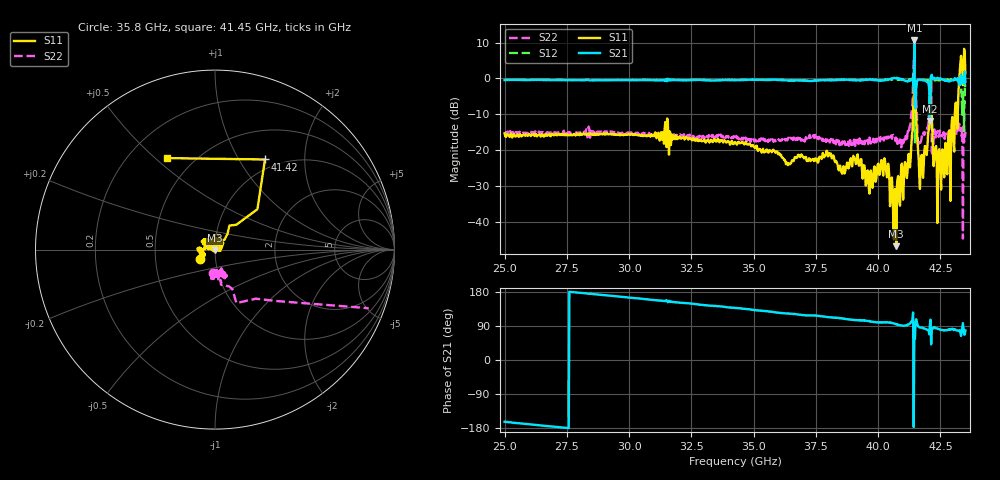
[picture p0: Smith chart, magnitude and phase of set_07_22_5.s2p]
!Keysight Technologies,N5224A,MY55441802,A.10.65.16
!Date: Tuesday, March 03, 2026 16:51:38
!Correction: S11(Full 2 Port(1,2))
!S21(Full 2 Port(1,2))
!S12(Full 2 Port(1,2))
!S22(Full 2 Port(1,2))
!S2P File: Measurements: S11, S21, S12, S22:
# Hz S  dB  R 50
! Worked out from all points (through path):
!   741 points, 25 GHz to 43.5 GHz, reference 50 ohm
!   highest |S21| = 10.58 dB at 41.45 GHz (marker M1); lowest = -11.9 dB at 42.08 GHz (marker M2)
!   lowest |S11| = -46.8 dB at 40.73 GHz (marker M3), VSWR 1.01, Z = 49.7 - j0.374 ohm
!   |S11| at or under -10 dB: start of sweep to 41.4 GHz; 41.52 GHz to 42.07 GHz (549.5 MHz wide, 1.31 % of centre); 42.14 GHz to 43.07 GHz (931.9 MHz wide, 2.19 % of centre)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
!   |S22| runs from -44.7 to 6.6 dB; largest |S21 - S12| = 3.2
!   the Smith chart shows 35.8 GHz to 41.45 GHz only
!   S11 on the Smith chart (normalised r, x): 35.8 GHz: 0.84, -0.09; 41.42 GHz: 0.87, +1.30; 41.45 GHz: 0.36, +0.55
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2.5e10  -15.38 -68.3  -0.46 -163.0  -0.45 -162.6  -14.93 -84.1
2.81e10  -15.67 -92.0  -0.51 176.8  -0.46 177.1  -15.03 -94.7
3.1175e10  -15.29 -116.7  -0.51 156.8  -0.44 157.3  -15.13 -103.1
3.425e10  -17.77 -146.5  -0.44 137.2  -0.38 137.1  -16.98 -103.7
3.58e10  -20.00 -149.0  -0.32 126.5  -0.42 126.5  -17.71 -94.2
3.735e10  -22.66 -153.4  -0.69 117.7  -0.65 117.2  -16.26 -93.2
4.0425e10  -25.41 154.2  -0.27 99.4  -0.23 96.7  -16.25 -70.1
4.0725e10  -46.78 -124.7  0.05 94.5  -0.34 94.2  -16.19 -74.6
4.1225e10  -21.06 83.5  -0.73 93.7  -0.40 92.3  -15.29 -79.6
4.1425e10  -4.82 61.0  -2.33 -176.9  -3.11 146.3  4.98 30.7
4.145e10  -4.81 117.6  10.58 83.2  -13.49 41.5  6.56 -94.5
4.155e10  -14.85 -4.3  -0.72 100.4  -1.10 102.6  -9.42 34.3
4.1725e10  -21.92 -14.5  -0.45 85.6  -0.43 86.6  -17.28 -67.3
4.2075e10  -8.84 -115.2  -11.90 93.1  -5.89 56.3  -0.62 -58.5
4.2225e10  -24.46 12.7  0.07 85.6  -0.26 81.8  -17.17 -76.5
4.245e10  -19.76 44.3  -0.18 81.1  -0.56 82.7  -15.74 -69.9
4.2975e10  -10.78 -25.0  -0.51 82.9  -0.48 74.0  -15.15 -78.5
4.3225e10  -3.27 -73.3  0.09 76.9  -1.10 61.3  -15.27 -71.6
4.3325e10  6.28 143.2  0.94 63.6  -0.57 36.5  -13.81 -88.8
4.3375e10  2.55 -94.4  -1.17 85.5  -10.17 84.9  -14.11 -91.4
4.34e10  -1.90 -72.7  -0.53 97.4  -3.63 104.5  -44.67 12.8
4.35e10  1.45 -43.5  -1.00 77.8  -2.34 59.2  -14.86 -67.3
